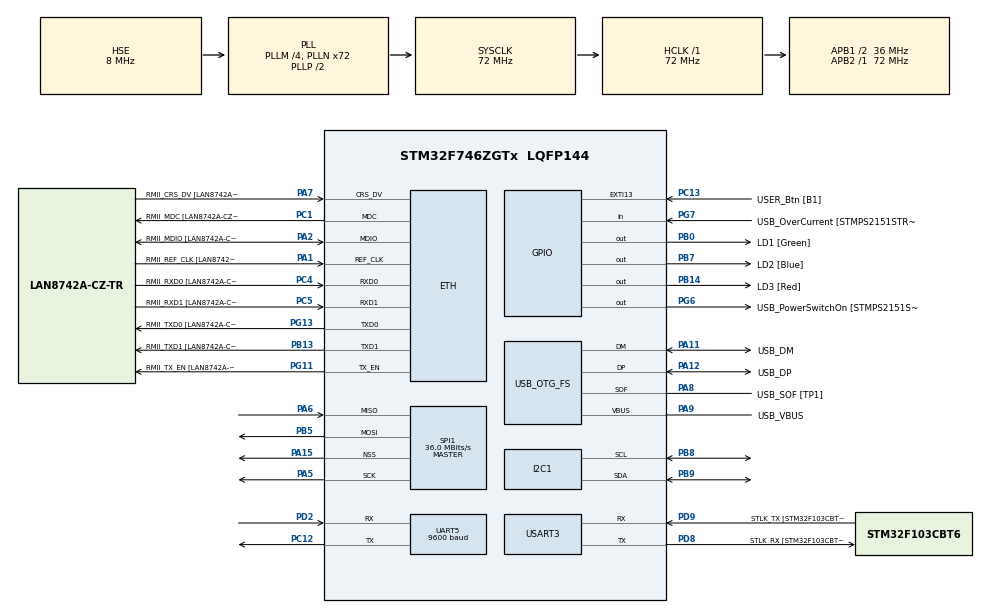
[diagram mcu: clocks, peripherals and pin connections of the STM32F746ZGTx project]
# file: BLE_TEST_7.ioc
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Dma.Request0=UART5_RX
Dma.Request1=UART5_TX
Dma.Request2=SPI1_TX
Dma.SPI1_TX.2.Direction=DMA_MEMORY_TO_PERIPH
Dma.SPI1_TX.2.FIFOMode=DMA_FIFOMODE_DISABLE
Dma.SPI1_TX.2.Instance=DMA2_Stream3
Dma.SPI1_TX.2.MemDataAlignment=DMA_MDATAALIGN_BYTE
Dma.SPI1_TX.2.MemInc=DMA_MINC_ENABLE
Dma.SPI1_TX.2.Mode=DMA_NORMAL
Dma.SPI1_TX.2.PeriphDataAlignment=DMA_PDATAALIGN_BYTE
Dma.SPI1_TX.2.PeriphInc=DMA_PINC_DISABLE
Dma.SPI1_TX.2.Priority=DMA_PRIORITY_LOW
Dma.UART5_RX.0.Direction=DMA_PERIPH_TO_MEMORY
Dma.UART5_RX.0.FIFOMode=DMA_FIFOMODE_DISABLE
Dma.UART5_RX.0.Instance=DMA1_Stream0
Dma.UART5_RX.0.MemDataAlignment=DMA_MDATAALIGN_BYTE
Dma.UART5_RX.0.MemInc=DMA_MINC_ENABLE
Dma.UART5_RX.0.Mode=DMA_NORMAL
Dma.UART5_RX.0.PeriphDataAlignment=DMA_PDATAALIGN_BYTE
Dma.UART5_RX.0.PeriphInc=DMA_PINC_DISABLE
Dma.UART5_RX.0.Priority=DMA_PRIORITY_LOW
Dma.UART5_TX.1.Direction=DMA_MEMORY_TO_PERIPH
Dma.UART5_TX.1.FIFOMode=DMA_FIFOMODE_DISABLE
Dma.UART5_TX.1.Instance=DMA1_Stream7
Dma.UART5_TX.1.MemDataAlignment=DMA_MDATAALIGN_BYTE
Dma.UART5_TX.1.MemInc=DMA_MINC_ENABLE
Dma.UART5_TX.1.Mode=DMA_NORMAL
Dma.UART5_TX.1.PeriphDataAlignment=DMA_PDATAALIGN_BYTE
Dma.UART5_TX.1.PeriphInc=DMA_PINC_DISABLE
Dma.UART5_TX.1.Priority=DMA_PRIORITY_LOW
ETH.MediaInterface=HAL_ETH_RMII_MODE
ETH.PHY_Name=LAN8742A_PHY_ADDRESS
ETH.PHY_Value=0
ETH.PhyAddress=0
I2C1.Timing=0x00808CD2
Mcu.Family=STM32F7
Mcu.Name=STM32F746ZGTx
Mcu.Package=LQFP144
NVIC.DMA1_Stream0_IRQn=true\:0\:0\:false\:false\:true\:false\:true\:true
NVIC.DMA1_Stream7_IRQn=true\:0\:0\:false\:false\:true\:false\:true\:true
NVIC.DMA2_Stream3_IRQn=true\:0\:0\:false\:false\:true\:false\:true\:true
NVIC.PriorityGroup=NVIC_PRIORITYGROUP_4
NVIC.SPI1_IRQn=true\:0\:0\:false\:false\:true\:true\:true\:true
NVIC.UART5_IRQn=true\:0\:0\:false\:false\:true\:true\:true\:true
NVIC.USART3_IRQn=true\:0\:0\:false\:false\:true\:true\:true\:true
PA1.GPIO_Label=RMII_REF_CLK [LAN8742A-CZ-TR_REFCLK0]
PA1.Mode=RMII
PA1.Signal=ETH_REF_CLK
PA10.GPIO_Label=USB_ID
PA10.Signal=USB_OTG_FS_ID
PA11.GPIO_Label=USB_DM
PA11.Mode=Device_Only
PA11.Signal=USB_OTG_FS_DM
PA12.GPIO_Label=USB_DP
PA12.Mode=Device_Only
PA12.Signal=USB_OTG_FS_DP
PA13.GPIO_Label=TMS
PA13.Mode=Serial_Wire
PA13.Signal=SYS_JTMS-SWDIO
PA14.GPIO_Label=TCK
PA14.Mode=Serial_Wire
PA14.Signal=SYS_JTCK-SWCLK
PA15.Mode=NSS_Signal_Hard_Output
PA15.Signal=SPI1_NSS
PA2.GPIO_Label=RMII_MDIO [LAN8742A-CZ-TR_MDIO]
PA2.Mode=RMII
PA2.Signal=ETH_MDIO
PA5.Mode=Full_Duplex_Master
PA5.Signal=SPI1_SCK
PA6.Mode=Full_Duplex_Master
PA6.Signal=SPI1_MISO
PA7.GPIO_Label=RMII_CRS_DV [LAN8742A-CZ-TR_CRS_DV]
PA7.Mode=RMII
PA7.Signal=ETH_CRS_DV
PA8.GPIO_Label=USB_SOF [TP1]
PA8.Mode=Activate_SOF_FS
PA8.Signal=USB_OTG_FS_SOF
PA9.GPIO_Label=USB_VBUS
PA9.Mode=Activate_VBUS
PA9.Signal=USB_OTG_FS_VBUS
PB0.GPIO_Label=LD1 [Green]
PB0.Signal=GPIO_Output
PB13.GPIO_Label=RMII_TXD1 [LAN8742A-CZ-TR_TXD1]
PB13.Mode=RMII
PB13.Signal=ETH_TXD1
PB14.GPIO_Label=LD3 [Red]
PB14.Signal=GPIO_Output
PB3.GPIO_Label=SW0
PB3.Signal=SYS_JTDO-SWO
PB5.Mode=Full_Duplex_Master
PB5.Signal=SPI1_MOSI
PB7.GPIO_Label=LD2 [Blue]
PB7.Signal=GPIO_Output
PB8.Mode=I2C
PB8.Signal=I2C1_SCL
PB9.Mode=I2C
PB9.Signal=I2C1_SDA
PC1.GPIO_Label=RMII_MDC [LAN8742A-CZ-TR_MDC]
PC1.Mode=RMII
PC1.Signal=ETH_MDC
PC12.Mode=Asynchronous
PC12.Signal=UART5_TX
PC13.GPIO_Label=USER_Btn [B1]
PC13.Signal=GPXTI13
PC14/OSC32_IN.Mode=LSE-External-Oscillator
PC14/OSC32_IN.Signal=RCC_OSC32_IN
PC15/OSC32_OUT.Mode=LSE-External-Oscillator
PC15/OSC32_OUT.Signal=RCC_OSC32_OUT
PC4.GPIO_Label=RMII_RXD0 [LAN8742A-CZ-TR_RXD0]
PC4.Mode=RMII
PC4.Signal=ETH_RXD0
PC5.GPIO_Label=RMII_RXD1 [LAN8742A-CZ-TR_RXD1]
PC5.Mode=RMII
PC5.Signal=ETH_RXD1
PD2.Mode=Asynchronous
PD2.Signal=UART5_RX
PD8.GPIO_Label=STLK_RX [STM32F103CBT6_PA3]
PD8.GPIO_PuPd=GPIO_PULLUP
PD8.Mode=Asynchronous
PD8.Signal=USART3_TX
PD9.GPIO_Label=STLK_TX [STM32F103CBT6_PA2]
PD9.GPIO_PuPd=GPIO_PULLUP
PD9.Mode=Asynchronous
PD9.Signal=USART3_RX
PG11.GPIO_Label=RMII_TX_EN [LAN8742A-CZ-TR_TXEN]
PG11.Mode=RMII
PG11.Signal=ETH_TX_EN
PG13.GPIO_Label=RMII_TXD0 [LAN8742A-CZ-TR_TXD0]
PG13.Mode=RMII
PG13.Signal=ETH_TXD0
PG6.GPIO_Label=USB_PowerSwitchOn [STMPS2151STR_EN]
PG6.Signal=GPIO_Output
PG7.GPIO_Label=USB_OverCurrent [STMPS2151STR_FAULT]
PG7.Signal=GPIO_Input
PH0/OSC_IN.GPIO_Label=MCO [STM32F103CBT6_PA8]
PH0/OSC_IN.Mode=HSE-External-Clock-Source
PH0/OSC_IN.Signal=RCC_OSC_IN
PH1/OSC_OUT.Mode=HSE-External-Clock-Source
PH1/OSC_OUT.Signal=RCC_OSC_OUT
ProjectManager.HeapSize=0x200
ProjectManager.StackSize=0x400
ProjectManager.TargetToolchain=CMake
RCC.48MHZClocksFreq_Value=24000000
RCC.AHBFreq_Value=72000000
RCC.APB1CLKDivider=RCC_HCLK_DIV2
RCC.APB1Freq_Value=36000000
RCC.APB1TimFreq_Value=72000000
RCC.APB2Freq_Value=72000000
RCC.APB2TimFreq_Value=72000000
RCC.CortexFreq_Value=72000000
RCC.HCLKFreq_Value=72000000
RCC.HSE_VALUE=8000000
RCC.HSI_VALUE=16000000
RCC.PLLM=4
RCC.PLLMUL=RCC_PLL_MUL9
RCC.PLLN=72
RCC.PLLQ=3
RCC.PRESCALERUSB=RCC_USBCLKSOURCE_PLL_DIV1_5
RCC.SYSCLKFreq_VALUE=72000000
RCC.SYSCLKSource=RCC_SYSCLKSOURCE_PLLCLK
RCC.SYSCLKSourceVirtual=RCC_SYSCLKSOURCE_PLLCLK
RCC.USBFreq_Value=48000000
RCC.VCOOutputFreq_Value=144000000
SPI1.BaudRatePrescaler=SPI_BAUDRATEPRESCALER_2
SPI1.CLKPhase=SPI_PHASE_2EDGE
SPI1.CLKPolarity=SPI_POLARITY_HIGH
SPI1.CalculateBaudRate=36.0 MBits/s
SPI1.DataSize=SPI_DATASIZE_8BIT
SPI1.Direction=SPI_DIRECTION_2LINES
SPI1.Mode=SPI_MODE_MASTER
SPI1.VirtualNSS=VM_NSSHARD
SPI1.VirtualType=VM_MASTER
UART5.BaudRate=9600
USART3.VirtualMode-Asynchronous=VM_ASYNC
USB_OTG_FS.VirtualMode=Device_Only
board=NUCLEO-F746ZG

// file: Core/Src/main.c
/* USER CODE BEGIN Header */
/**
  ******************************************************************************
  * @file           : main.c
  * @brief          : Main program body
  ******************************************************************************
  * @attention
  *
  * Copyright (c) 2025 STMicroelectronics.
  * All rights reserved.
  *
  * This software is licensed under terms that can be found in the LICENSE file
  * in the root directory of this software component.
  * If no LICENSE file comes with this software, it is provided AS-IS.
  *
  ******************************************************************************
  */
#include "string.h"
#include <stdarg.h>
#include <stdio.h>
/* USER CODE END Header */
#include "main.h"
#include "string.h"

/* USER CODE BEGIN Includes */
#include "m8q.h"
static uint8_t rx_buf[20];
static char* tx_1 = "AT";
static char* tx_2 = "Hello World";

// ICM-20948 Register addresses - Updated for correct bank 0 addresses
#define WHO_AM_I_REG     0x00
#define WHO_AM_I_VAL     0xEA

#define PWR_MGMT_1       0x06
#define ACCEL_XOUT_H     0x2D
#define ACCEL_XOUT_L     0x2E
#define ACCEL_YOUT_H     0x2F
#define ACCEL_YOUT_L     0x30
#define ACCEL_ZOUT_H     0x31
#define ACCEL_ZOUT_L     0x32
#define GYRO_XOUT_H      0x33
#define GYRO_XOUT_L      0x34
#define GYRO_YOUT_H      0x35
#define GYRO_YOUT_L      0x36
#define GYRO_ZOUT_H      0x37
#define GYRO_ZOUT_L      0x38
#define PWR_MGMT_2       0x07
#define GYRO_CONFIG_1    0x01
#define ACCEL_CONFIG     0x14

// ICM-20948 specific defines
#define ICM_CS_PIN       GPIO_PIN_15
#define ICM_CS_PORT      GPIOA

/* USER CODE END Includes */

/* USER CODE BEGIN PTD */
typedef enum {
    GPS_STATUS_INIT,
    GPS_STATUS_OK,
    GPS_STATUS_ERROR,
    GPS_STATUS_NO_FIX
} GPS_Status;
/* USER CODE END PTD */

#if defined ( __ICCARM__ ) /*!< IAR Compiler */
#pragma location=0x2004c000
ETH_DMADescTypeDef  DMARxDscrTab[ETH_RX_DESC_CNT]; /* Ethernet Rx DMA Descriptors */
#pragma location=0x2004c0a0
ETH_DMADescTypeDef  DMATxDscrTab[ETH_TX_DESC_CNT]; /* Ethernet Tx DMA Descriptors */

#elif defined ( __CC_ARM )  /* MDK ARM Compiler */

__attribute__((at(0x2004c000))) ETH_DMADescTypeDef  DMARxDscrTab[ETH_RX_DESC_CNT]; /* Ethernet Rx DMA Descriptors */
__attribute__((at(0x2004c0a0))) ETH_DMADescTypeDef  DMATxDscrTab[ETH_TX_DESC_CNT]; /* Ethernet Tx DMA Descriptors */

#elif defined ( __GNUC__ ) /* GNU Compiler */

ETH_DMADescTypeDef DMARxDscrTab[ETH_RX_DESC_CNT] __attribute__((section(".RxDecripSection"))); /* Ethernet Rx DMA Descriptors */
ETH_DMADescTypeDef DMATxDscrTab[ETH_TX_DESC_CNT] __attribute__((section(".TxDecripSection")));   /* Ethernet Tx DMA Descriptors */
#endif

ETH_TxPacketConfig TxConfig;

ETH_HandleTypeDef heth;

I2C_HandleTypeDef hi2c1;

SPI_HandleTypeDef hspi1;

UART_HandleTypeDef huart5;
UART_HandleTypeDef huart3;
DMA_HandleTypeDef hdma_uart5_rx;
DMA_HandleTypeDef hdma_uart5_tx;

PCD_HandleTypeDef hpcd_USB_OTG_FS;

/* USER CODE BEGIN PV */
void printToConsole(const char *format, ...) {
    char buffer[256];
    va_list args;
    va_start(args, format);
    vsnprintf(buffer, sizeof(buffer), format, args);
    va_end(args);

    strcat(buffer, "\r\n");
    HAL_UART_Transmit(&huart3, (uint8_t *)buffer, strlen(buffer), HAL_MAX_DELAY);
}

void HAL_UART_RxCpltCallback(UART_HandleTypeDef *huart)
{
    if(huart == &huart5) {
        // Log the received data
        printToConsole("Received (callback): %s", rx_buf);

        // Restart the reception for the next data
        HAL_UART_Receive_DMA(&huart5, rx_buf, sizeof(rx_buf));
    }
}

// Update SPI read/write functions
uint8_t SPI_Read(uint8_t reg) {
    uint8_t rx_data = 0;
    uint8_t tx_data = reg | 0x80;  // Set the read bit (bit 7)

    HAL_GPIO_WritePin(ICM_CS_PORT, ICM_CS_PIN, GPIO_PIN_RESET);  // CS LOW

    // Small delay to ensure CS is stable before transmission
    for(volatile int i = 0; i < 10; i++);

    HAL_SPI_Transmit(&hspi1, &tx_data, 1, HAL_MAX_DELAY);
    HAL_SPI_Receive(&hspi1, &rx_data, 1, HAL_MAX_DELAY);

    // Small delay before raising CS
    for(volatile int i = 0; i < 10; i++);

    HAL_GPIO_WritePin(ICM_CS_PORT, ICM_CS_PIN, GPIO_PIN_SET);    // CS HIGH

    return rx_data;
}

void SPI_Write(uint8_t reg, uint8_t data) {
    uint8_t tx_data[2];
    tx_data[0] = reg & 0x7F;  // Clear the read bit (bit 7)
    tx_data[1] = data;

    HAL_GPIO_WritePin(ICM_CS_PORT, ICM_CS_PIN, GPIO_PIN_RESET);  // CS LOW

    // Small delay to ensure CS is stable before transmission
    for(volatile int i = 0; i < 10; i++);

    HAL_SPI_Transmit(&hspi1, tx_data, 2, HAL_MAX_DELAY);

    // Small delay before raising CS
    for(volatile int i = 0; i < 10; i++);

    HAL_GPIO_WritePin(ICM_CS_PORT, ICM_CS_PIN, GPIO_PIN_SET);    // CS HIGH
}

// Update initialization sequence
void init_imu(void) {
    // Configure CS pin as output and set it high initially
    GPIO_InitTypeDef GPIO_InitStruct = {0};

    // Enable clock for CS pin port if not already enabled
    __HAL_RCC_GPIOA_CLK_ENABLE();

    // Configure CS pin as output
    GPIO_InitStruct.Pin = ICM_CS_PIN;
    GPIO_InitStruct.Mode = GPIO_MODE_OUTPUT_PP;
    GPIO_InitStruct.Pull = GPIO_PULLUP;
    GPIO_InitStruct.Speed = GPIO_SPEED_FREQ_HIGH;
    HAL_GPIO_Init(ICM_CS_PORT, &GPIO_InitStruct);

    // Set CS high initially
    HAL_GPIO_WritePin(ICM_CS_PORT, ICM_CS_PIN, GPIO_PIN_SET);
    HAL_Delay(100);  // Give the sensor some time to power up

    // Reset the device first
    SPI_Write(PWR_MGMT_1, 0x80);  // Device reset
    HAL_Delay(100);  // Wait for reset to complete

    // Wake up the device
    SPI_Write(PWR_MGMT_1, 0x01);  // Auto select best clock source
    HAL_Delay(10);

    // Verify device ID
    uint8_t whoami = SPI_Read(WHO_AM_I_REG);
    printToConsole("WHO_AM_I register value: 0x%02X (expected: 0x%02X)", whoami, WHO_AM_I_VAL);

    if (whoami == WHO_AM_I_VAL) {
        printToConsole("ICM-20948 found!");

        // Configure the device further
        SPI_Write(PWR_MGMT_2, 0x00);  // Enable accel and gyro
        HAL_Delay(10);

        // Configure gyro
        SPI_Write(GYRO_CONFIG_1, 0x00);  // 250 dps full scale
        HAL_Delay(10);

        // Configure accelerometer
        SPI_Write(ACCEL_CONFIG, 0x00);  // 2g full scale
        HAL_Delay(10);

        printToConsole("ICM-20948 configured successfully!");
    } else {
        printToConsole("Error: Unknown device ID or communication failure!");
        printToConsole("Trying alternative initialization...");

        // Try a more robust initialization sequence
        HAL_Delay(100);

        // Make sure CS is high then low to reset SPI interface
        HAL_GPIO_WritePin(ICM_CS_PORT, ICM_CS_PIN, GPIO_PIN_SET);
        HAL_Delay(10);
        HAL_GPIO_WritePin(ICM_CS_PORT, ICM_CS_PIN, GPIO_PIN_RESET);
        HAL_Delay(10);
        HAL_GPIO_WritePin(ICM_CS_PORT, ICM_CS_PIN, GPIO_PIN_SET);
        HAL_Delay(10);

        // Try reading WHO_AM_I again
        whoami = SPI_Read(WHO_AM_I_REG);
        printToConsole("Second attempt WHO_AM_I: 0x%02X", whoami);
    }
}

void read_imu_data(void) {
    int16_t accel_x, accel_y, accel_z;
    int16_t gyro_x, gyro_y, gyro_z;

    // Read accelerometer data
    uint8_t accel_x_h = SPI_Read(ACCEL_XOUT_H);
    uint8_t accel_x_l = SPI_Read(ACCEL_XOUT_L);
    uint8_t accel_y_h = SPI_Read(ACCEL_YOUT_H);
    uint8_t accel_y_l = SPI_Read(ACCEL_YOUT_L);
    uint8_t accel_z_h = SPI_Read(ACCEL_ZOUT_H);
    uint8_t accel_z_l = SPI_Read(ACCEL_ZOUT_L);

    // Read gyroscope data
    uint8_t gyro_x_h = SPI_Read(GYRO_XOUT_H);
    uint8_t gyro_x_l = SPI_Read(GYRO_XOUT_L);
    uint8_t gyro_y_h = SPI_Read(GYRO_YOUT_H);
    uint8_t gyro_y_l = SPI_Read(GYRO_YOUT_L);
    uint8_t gyro_z_h = SPI_Read(GYRO_ZOUT_H);
    uint8_t gyro_z_l = SPI_Read(GYRO_ZOUT_L);

    // Combine high and low bytes
    accel_x = (int16_t)((accel_x_h << 8) | accel_x_l);
    accel_y = (int16_t)((accel_y_h << 8) | accel_y_l);
    accel_z = (int16_t)((accel_z_h << 8) | accel_z_l);

    gyro_x = (int16_t)((gyro_x_h << 8) | gyro_x_l);
    gyro_y = (int16_t)((gyro_y_h << 8) | gyro_y_l);
    gyro_z = (int16_t)((gyro_z_h << 8) | gyro_z_l);

    // Print the data
    printToConsole("Accel: X=%d, Y=%d, Z=%d", accel_x, accel_y, accel_z);
    printToConsole("Gyro: X=%d, Y=%d, Z=%d", gyro_x, gyro_y, gyro_z);
}
/* USER CODE END PV */

void SystemClock_Config(void);
static void MX_GPIO_Init(void);
static void MX_DMA_Init(void);
static void MX_ETH_Init(void);
static void MX_I2C1_Init(void);
static void MX_UART5_Init(void);
static void MX_USART3_UART_Init(void);
static void MX_USB_OTG_FS_PCD_Init(void);
static void MX_SPI1_Init(void);

/* USER CODE BEGIN 0 */
void decodeNMEASentence(const char *sentence) {
    char buffer[128];
    strncpy(buffer, sentence, sizeof(buffer));
    buffer[sizeof(buffer)-1] = '\0';

    char *token = strtok(buffer, ",");
    int fieldIndex = 0;

    while (token != NULL) {
        printToConsole("Field %d: %s\r\n", fieldIndex, token);
        token = strtok(NULL, ",");
        fieldIndex++;
    }
}

bool readUntilNewline(char *buffer, size_t maxSize) {
    uint32_t startTick = HAL_GetTick();
    uint32_t idx = 0;
    char ch;
    bool startFound = false;

    while (idx < (maxSize - 1)) {
        if ((HAL_GetTick() - startTick) > 2000) {
            printToConsole("Timeout after %lu ms\r\n", (HAL_GetTick() - startTick));
            break;
        }

        HAL_StatusTypeDef status = HAL_UART_Receive(&huart6, (uint8_t*)&ch, 1, 100);
        if (status == HAL_OK) {
            if (ch == '$') {
                startFound = true;
                idx = 0;
            }

            if (startFound) {
                buffer[idx++] = ch;
                if (ch == '\n' && idx > 1 && buffer[idx-2] == '\r') {
                    buffer[idx] = '\0';
                    return true;
                }
            }
        }
    }

    buffer[idx] = '\0';
    return false;
}

GPS_Status parseGPSTXT(const char* message) {
    if (strstr(message, "ANTSTATUS=INIT")) {
        return GPS_STATUS_INIT;
    } else if (strstr(message, "ANTSTATUS=OK")) {
        return GPS_STATUS_OK;
    } else if (strstr(message, "ANTSTATUS=SHORT") ||
               strstr(message, "ANTSTATUS=OPEN")) {
        return GPS_STATUS_ERROR;
    }
    return GPS_STATUS_NO_FIX;
}

bool printCurrentGpsOutput(void) {
    char buffer[256];
    static GPS_Status lastStatus = GPS_STATUS_INIT;
    static uint32_t noFixCount = 0;
    static uint32_t lastDebugPrint = 0;
    const uint32_t DEBUG_PRINT_INTERVAL = 1000; // Print debug every 1 second

    memset(buffer, 0, sizeof(buffer));
    memset(&gps_data, 0, sizeof(GPS_Data));

    if (readUntilNewline(buffer, sizeof(buffer))) {
        // Debug message with timestamp
        uint32_t currentTick = HAL_GetTick();
        if (currentTick - lastDebugPrint >= DEBUG_PRINT_INTERVAL) {
            printToConsole("\r\n=== GPS Debug [%lu ms] ===\r\n", currentTick);
            lastDebugPrint = currentTick;
        }

        // Validate NMEA message format
        if (buffer[0] != '$') {
            printToConsole("ERROR: Invalid NMEA format\r\n");
            return false;
        }

        const char* buffer = "$GNRMC,201850.00,A,4025.69979,N,08654.69118,W,0.256,,240225,08654.69118,W,0.256,,240225,,,A*73";

        // Parse message type
        if (strstr(buffer, "$GNRMC")) {
            printToConsole("Message Type: RMC (Position/Speed/Time)\r\n");

            if (M8Q_ParseGNRMC(buffer, &gps_data)) {
                if (!gps_data.fix_valid) {
                    noFixCount++;
                    printToConsole("Status: NO FIX (Waiting: %lu sec)\r\n", noFixCount);
                    printToConsole("Time: %02d:%02d:%02d UTC\r\n",
                        gps_data.hours,
                        gps_data.minutes,
                        gps_data.seconds);
                    printToConsole("Troubleshooting:\r\n");
                    printToConsole("- Ensure clear view of sky\r\n");
                    printToConsole("- Wait for satellite acquisition (can take 1-5 min)\r\n");
                    printToConsole("- Check antenna connection\r\n");
                } else {
                    noFixCount = 0;
                    printToConsole("\r\n=== GPS Location Update ===\r\n");
                    printToConsole("Time: %02d:%02d:%02d UTC\r\n",
                        gps_data.hours,
                        gps_data.minutes,
                        gps_data.seconds);

                    printToConsole("Date: %02d/%02d/%04d\r\n",
                        gps_data.day,
                        gps_data.month,
                        gps_data.year);

                    // Convert coordinates to degrees and decimal minutes format
                    int lat_deg = (int)gps_data.latitude;
                    double lat_min = (gps_data.latitude - lat_deg) * 60;
                    int lon_deg = (int)gps_data.longitude;
                    double lon_min = (gps_data.longitude - lon_deg) * 60;

                    printToConsole("Position:\r\n");
                    printToConsole("  %d°%.4f' %c\r\n",
                        abs(lat_deg), fabs(lat_min), gps_data.lat_direction);
                    printToConsole("  %d°%.4f' %c\r\n",
                        abs(lon_deg), fabs(lon_min), gps_data.lon_direction);

                    if (gps_data.speed_knots > 0.5) { // Only show speed if moving
                        printToConsole("Speed: %.1f km/h\r\n",
                            gps_data.speed_knots * 1.852); // Convert knots to km/h
                        printToConsole("Heading: %.1f°\r\n",
                            gps_data.course);
                    }

                    printToConsole("=========================\r\n");
                }
            } else {
                printToConsole("ERROR: Failed to parse RMC message\r\n");
                printToConsole("Raw: %s\r\n", buffer);
            }
            return true;
        }
        else if (strstr(buffer, "$GNGGA")) {
            printToConsole("Message Type: GGA (GPS Fix Data)\r\n");

            // Parse GGA message fields
            char *saveptr;
            char *token = strtok_r(buffer, ",", &saveptr);
            int field = 0;

            while (token != NULL) {
                switch(field) {
                    case 6: // Fix quality
                        printToConsole("Fix Quality: ");
                        switch(atoi(token)) {
                            case 0: printToConsole("Invalid\r\n"); break;
                            case 1: printToConsole("GPS Fix\r\n"); break;
                            case 2: printToConsole("DGPS Fix\r\n"); break;
                            default: printToConsole("Unknown (%s)\r\n", token); break;
                        }
                        break;
                    case 7: // Satellites in use
                        printToConsole("Satellites: %s in use\r\n", token);
                        break;
                    case 8: // HDOP
                        {
                            float hdop = atof(token);
                            printToConsole("HDOP: %.1f ", hdop);
                            if (hdop < 1.0) printToConsole("(Excellent)\r\n");
                            else if (hdop < 2.0) printToConsole("(Good)\r\n");
                            else if (hdop < 5.0) printToConsole("(Moderate)\r\n");
                            else printToConsole("(Poor)\r\n");
                        }
                        break;
                }
                field++;
                token = strtok_r(NULL, ",", &saveptr);
            }
            return true;
        }
        else if (strstr(buffer, "$GNTXT")) {
            GPS_Status status = parseGPSTXT(buffer);
            if (status != lastStatus) {
                switch(status) {
                    case GPS_STATUS_INIT:
                        printToConsole("GPS Status: Initializing antenna\r\n");
                        break;
                    case GPS_STATUS_OK:
                        printToConsole("GPS Status: Antenna OK, waiting for fix\r\n");
                        break;
                    case GPS_STATUS_ERROR:
                        printToConsole("GPS Status: Antenna error detected!\r\n");
                        break;
                    default:
                        break;
                }
                lastStatus = status;
            }
            printToConsole("GPS Info Message: %s", buffer);
            return true;
        }
        else {
            printToConsole("Message Type: Other (%.*s)\r\n", 5, buffer);
            return true;
        }
    } else {
        printToConsole("ERROR: Failed to read NMEA sentence\r\n");
        return false;
    }
}
/* USER CODE END 0 */

int main(void)
{

  /* MCU Configuration--------------------------------------------------------*/

  /* Reset of all peripherals, Initializes the Flash interface and the Systick. */
  HAL_Init();

  /* Configure the system clock */
  SystemClock_Config();

  /* Initialize all configured peripherals */
  MX_GPIO_Init();
  MX_DMA_Init();
  MX_ETH_Init();
  MX_I2C1_Init();
  MX_UART5_Init();
  MX_USART3_UART_Init();
  MX_USB_OTG_FS_PCD_Init();
  MX_SPI1_Init();
  /* USER CODE BEGIN 2 */

  int size = strlen(tx_1);
  int size2 = strlen(tx_2);
  init_imu();

  // HAL_UART_Receive_DMA(&huart5, rx_buf, size);
  // HAL_UART_Transmit_DMA(&huart5, (uint8_t*)tx_1, size);
  // printToConsole("Sent: %s", tx_1);

  /* USER CODE END 2 */

  /* Infinite loop */
  while (1)
  {

    /* USER CODE BEGIN 3 */
    // Print the GPS output
    if (true) {
      // Try multiple times to get a valid sentence
      bool success = false;
      printToConsole("\r\n=== New GPS Reading ===\r\n");
      for(int attempts = 0; attempts < 3 && !success; attempts++) {
          if (attempts > 0) {
              printToConsole("Retry attempt %d\r\n", attempts);
          }
          success = printCurrentGpsOutput();
      }
      if (!success) {
          printToConsole("Failed after all attempts\r\n");
      }
    }

    // Wait for 500ms before triggering again
    HAL_Delay(1000);
    read_imu_data();
    HAL_Delay(1000);
  }
  /* USER CODE END 3 */
}

void SystemClock_Config(void)
{
  RCC_OscInitTypeDef RCC_OscInitStruct = {0};
  RCC_ClkInitTypeDef RCC_ClkInitStruct = {0};

  /** Configure LSE Drive Capability
  */
  HAL_PWR_EnableBkUpAccess();

  /** Configure the main internal regulator output voltage
  */
  __HAL_RCC_PWR_CLK_ENABLE();
  __HAL_PWR_VOLTAGESCALING_CONFIG(PWR_REGULATOR_VOLTAGE_SCALE3);

  /** Initializes the RCC Oscillators according to the specified parameters
  * in the RCC_OscInitTypeDef structure.
  */
  RCC_OscInitStruct.OscillatorType = RCC_OSCILLATORTYPE_HSE;
  RCC_OscInitStruct.HSEState = RCC_HSE_BYPASS;
  RCC_OscInitStruct.PLL.PLLState = RCC_PLL_ON;
  RCC_OscInitStruct.PLL.PLLSource = RCC_PLLSOURCE_HSE;
  RCC_OscInitStruct.PLL.PLLM = 4;
  RCC_OscInitStruct.PLL.PLLN = 72;
  RCC_OscInitStruct.PLL.PLLP = RCC_PLLP_DIV2;
  RCC_OscInitStruct.PLL.PLLQ = 3;
  if (HAL_RCC_OscConfig(&RCC_OscInitStruct) != HAL_OK)
  {
    Error_Handler();
  }

  /** Initializes the CPU, AHB and APB buses clocks
  */
  RCC_ClkInitStruct.ClockType = RCC_CLOCKTYPE_HCLK|RCC_CLOCKTYPE_SYSCLK
                              |RCC_CLOCKTYPE_PCLK1|RCC_CLOCKTYPE_PCLK2;
  RCC_ClkInitStruct.SYSCLKSource = RCC_SYSCLKSOURCE_PLLCLK;
  RCC_ClkInitStruct.AHBCLKDivider = RCC_SYSCLK_DIV1;
  RCC_ClkInitStruct.APB1CLKDivider = RCC_HCLK_DIV2;
  RCC_ClkInitStruct.APB2CLKDivider = RCC_HCLK_DIV1;

  if (HAL_RCC_ClockConfig(&RCC_ClkInitStruct, FLASH_LATENCY_2) != HAL_OK)
  {
    Error_Handler();
  }
}

static void MX_ETH_Init(void)
{

   static uint8_t MACAddr[6];

  heth.Instance = ETH;
  MACAddr[0] = 0x00;
  MACAddr[1] = 0x80;
  MACAddr[2] = 0xE1;
  MACAddr[3] = 0x00;
  MACAddr[4] = 0x00;
  MACAddr[5] = 0x00;
  heth.Init.MACAddr = &MACAddr[0];
  heth.Init.MediaInterface = HAL_ETH_RMII_MODE;
  heth.Init.TxDesc = DMATxDscrTab;
  heth.Init.RxDesc = DMARxDscrTab;
  heth.Init.RxBuffLen = 1524;

  if (HAL_ETH_Init(&heth) != HAL_OK)
  {
    Error_Handler();
  }

  memset(&TxConfig, 0 , sizeof(ETH_TxPacketConfig));
  TxConfig.Attributes = ETH_TX_PACKETS_FEATURES_CSUM | ETH_TX_PACKETS_FEATURES_CRCPAD;
  TxConfig.ChecksumCtrl = ETH_CHECKSUM_IPHDR_PAYLOAD_INSERT_PHDR_CALC;
  TxConfig.CRCPadCtrl = ETH_CRC_PAD_INSERT;

}

static void MX_I2C1_Init(void)
{

  hi2c1.Instance = I2C1;
  hi2c1.Init.Timing = 0x00808CD2;
  hi2c1.Init.OwnAddress1 = 0;
  hi2c1.Init.AddressingMode = I2C_ADDRESSINGMODE_7BIT;
  hi2c1.Init.DualAddressMode = I2C_DUALADDRESS_DISABLE;
  hi2c1.Init.OwnAddress2 = 0;
  hi2c1.Init.OwnAddress2Masks = I2C_OA2_NOMASK;
  hi2c1.Init.GeneralCallMode = I2C_GENERALCALL_DISABLE;
  hi2c1.Init.NoStretchMode = I2C_NOSTRETCH_DISABLE;
  if (HAL_I2C_Init(&hi2c1) != HAL_OK)
  {
    Error_Handler();
  }

  /** Configure Analogue filter
  */
  if (HAL_I2CEx_ConfigAnalogFilter(&hi2c1, I2C_ANALOGFILTER_ENABLE) != HAL_OK)
  {
    Error_Handler();
  }

  /** Configure Digital filter
  */
  if (HAL_I2CEx_ConfigDigitalFilter(&hi2c1, 0) != HAL_OK)
  {
    Error_Handler();
  }

}

static void MX_SPI1_Init(void)
{

  /* SPI1 parameter configuration*/
  hspi1.Instance = SPI1;
  hspi1.Init.Mode = SPI_MODE_MASTER;
  hspi1.Init.Direction = SPI_DIRECTION_2LINES;
  hspi1.Init.DataSize = SPI_DATASIZE_8BIT;
  hspi1.Init.CLKPolarity = SPI_POLARITY_HIGH;
  hspi1.Init.CLKPhase = SPI_PHASE_2EDGE;
  hspi1.Init.NSS = SPI_NSS_SOFT;  // Changed to software NSS control
  hspi1.Init.BaudRatePrescaler = SPI_BAUDRATEPRESCALER_16;  // Reduced speed for reliability
  hspi1.Init.FirstBit = SPI_FIRSTBIT_MSB;
  hspi1.Init.TIMode = SPI_TIMODE_DISABLE;
  hspi1.Init.CRCCalculation = SPI_CRCCALCULATION_DISABLE;
  hspi1.Init.CRCPolynomial = 7;
  hspi1.Init.CRCLength = SPI_CRC_LENGTH_DATASIZE;
  hspi1.Init.NSSPMode = SPI_NSS_PULSE_DISABLE;
  if (HAL_SPI_Init(&hspi1) != HAL_OK)
  {
    Error_Handler();
  }
}

static void MX_UART5_Init(void)
{

  huart5.Instance = UART5;
  huart5.Init.BaudRate = 9600;
  huart5.Init.WordLength = UART_WORDLENGTH_8B;
  huart5.Init.StopBits = UART_STOPBITS_1;
  huart5.Init.Parity = UART_PARITY_NONE;
  huart5.Init.Mode = UART_MODE_TX_RX;
  huart5.Init.HwFlowCtl = UART_HWCONTROL_NONE;
  huart5.Init.OverSampling = UART_OVERSAMPLING_16;
  huart5.Init.OneBitSampling = UART_ONE_BIT_SAMPLE_DISABLE;
  huart5.AdvancedInit.AdvFeatureInit = UART_ADVFEATURE_NO_INIT;
  if (HAL_UART_Init(&huart5) != HAL_OK)
  {
    Error_Handler();
  }

}

static void MX_USART3_UART_Init(void)
{

  huart3.Instance = USART3;
  huart3.Init.BaudRate = 115200;
  huart3.Init.WordLength = UART_WORDLENGTH_8B;
  huart3.Init.StopBits = UART_STOPBITS_1;
  huart3.Init.Parity = UART_PARITY_NONE;
  huart3.Init.Mode = UART_MODE_TX_RX;
  huart3.Init.HwFlowCtl = UART_HWCONTROL_NONE;
  huart3.Init.OverSampling = UART_OVERSAMPLING_16;
  huart3.Init.OneBitSampling = UART_ONE_BIT_SAMPLE_DISABLE;
  huart3.AdvancedInit.AdvFeatureInit = UART_ADVFEATURE_NO_INIT;
  if (HAL_UART_Init(&huart3) != HAL_OK)
  {
    Error_Handler();
  }

}

static void MX_USB_OTG_FS_PCD_Init(void)
{

  hpcd_USB_OTG_FS.Instance = USB_OTG_FS;
  hpcd_USB_OTG_FS.Init.dev_endpoints = 6;
  hpcd_USB_OTG_FS.Init.speed = PCD_SPEED_FULL;
  hpcd_USB_OTG_FS.Init.dma_enable = DISABLE;
  hpcd_USB_OTG_FS.Init.phy_itface = PCD_PHY_EMBEDDED;
  hpcd_USB_OTG_FS.Init.Sof_enable = ENABLE;
  hpcd_USB_OTG_FS.Init.low_power_enable = DISABLE;
  hpcd_USB_OTG_FS.Init.lpm_enable = DISABLE;
  hpcd_USB_OTG_FS.Init.vbus_sensing_enable = ENABLE;
  hpcd_USB_OTG_FS.Init.use_dedicated_ep1 = DISABLE;
  if (HAL_PCD_Init(&hpcd_USB_OTG_FS) != HAL_OK)
  {
    Error_Handler();
  }

}

static void MX_DMA_Init(void)
{

  /* DMA controller clock enable */
  __HAL_RCC_DMA1_CLK_ENABLE();

  /* DMA interrupt init */
  /* DMA1_Stream0_IRQn interrupt configuration */
  HAL_NVIC_SetPriority(DMA1_Stream0_IRQn, 0, 0);
  HAL_NVIC_EnableIRQ(DMA1_Stream0_IRQn);
  /* DMA1_Stream7_IRQn interrupt configuration */
  HAL_NVIC_SetPriority(DMA1_Stream7_IRQn, 0, 0);
  HAL_NVIC_EnableIRQ(DMA1_Stream7_IRQn);

}

static void MX_GPIO_Init(void)
{
  GPIO_InitTypeDef GPIO_InitStruct = {0};

  /* GPIO Ports Clock Enable */
  __HAL_RCC_GPIOC_CLK_ENABLE();
  __HAL_RCC_GPIOH_CLK_ENABLE();
  __HAL_RCC_GPIOA_CLK_ENABLE();
  __HAL_RCC_GPIOB_CLK_ENABLE();
  __HAL_RCC_GPIOD_CLK_ENABLE();
  __HAL_RCC_GPIOG_CLK_ENABLE();

  /*Configure GPIO pin Output Level */
  HAL_GPIO_WritePin(GPIOB, LD1_Pin|LD3_Pin|LD2_Pin, GPIO_PIN_RESET);

  /*Configure GPIO pin Output Level */
  HAL_GPIO_WritePin(USB_PowerSwitchOn_GPIO_Port, USB_PowerSwitchOn_Pin, GPIO_PIN_RESET);

  /*Configure GPIO pin : USER_Btn_Pin */
  GPIO_InitStruct.Pin = USER_Btn_Pin;
  GPIO_InitStruct.Mode = GPIO_MODE_IT_RISING;
  GPIO_InitStruct.Pull = GPIO_NOPULL;
  HAL_GPIO_Init(USER_Btn_GPIO_Port, &GPIO_InitStruct);

  /*Configure GPIO pins : LD1_Pin LD3_Pin LD2_Pin */
  GPIO_InitStruct.Pin = LD1_Pin|LD3_Pin|LD2_Pin;
  GPIO_InitStruct.Mode = GPIO_MODE_OUTPUT_PP;
  GPIO_InitStruct.Pull = GPIO_NOPULL;
  GPIO_InitStruct.Speed = GPIO_SPEED_FREQ_LOW;
  HAL_GPIO_Init(GPIOB, &GPIO_InitStruct);

  /*Configure GPIO pin : USB_PowerSwitchOn_Pin */
  GPIO_InitStruct.Pin = USB_PowerSwitchOn_Pin;
  GPIO_InitStruct.Mode = GPIO_MODE_OUTPUT_PP;
  GPIO_InitStruct.Pull = GPIO_NOPULL;
  GPIO_InitStruct.Speed = GPIO_SPEED_FREQ_LOW;
  HAL_GPIO_Init(USB_PowerSwitchOn_GPIO_Port, &GPIO_InitStruct);

  /*Configure GPIO pin : USB_OverCurrent_Pin */
  GPIO_InitStruct.Pin = USB_OverCurrent_Pin;
  GPIO_InitStruct.Mode = GPIO_MODE_INPUT;
  GPIO_InitStruct.Pull = GPIO_NOPULL;
  HAL_GPIO_Init(USB_OverCurrent_GPIO_Port, &GPIO_InitStruct);

}

void Error_Handler(void)
{
  __disable_irq();
  while (1)
  {
  }
}
